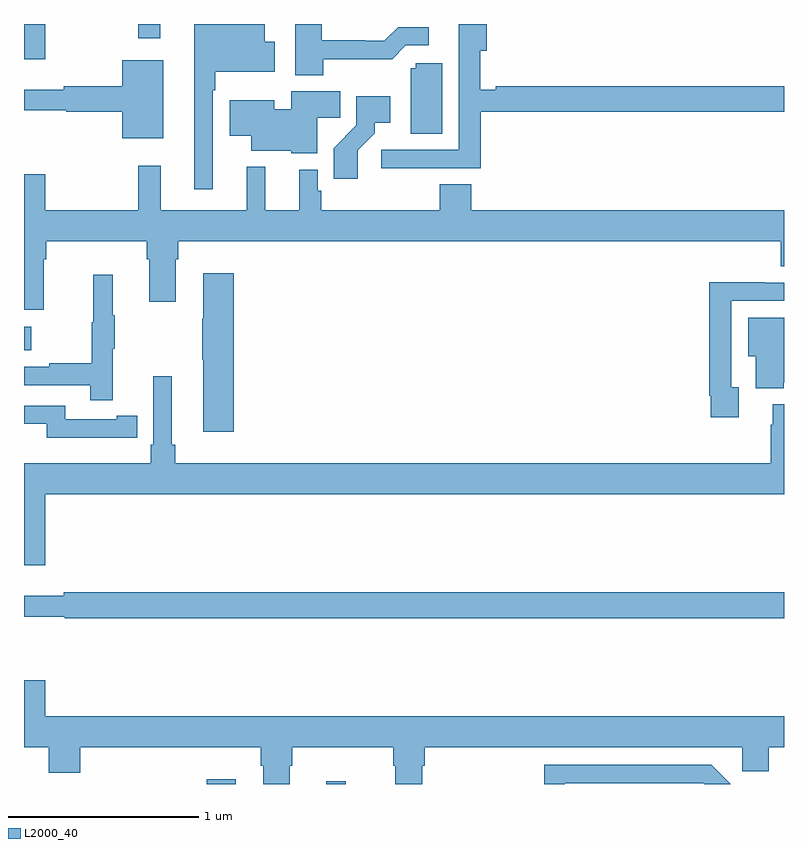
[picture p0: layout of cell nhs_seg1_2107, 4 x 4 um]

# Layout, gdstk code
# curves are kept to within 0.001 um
import gdstk
lib = gdstk.Library(unit=1e-6, precision=1e-09)
def R(c, l, rs):  # rectangles x0, y0, x1, y1
    for r in rs: c.add(gdstk.rectangle(r[:2], r[2:], *l))
def P(c, l, *ps):  # polygons
    for p in ps: c.add(gdstk.Polygon(p, *l))
L2000_40 = (2000, 40)

nhs_seg1_2107 = lib.new_cell('nhs_seg1_2107')
R(nhs_seg1_2107, L2000_40, [(225.961,558.199,226.114,558.223), (226.592,558.199,226.694,558.214), (225,560.483,225.037,560.605), (225,562.014,225.112,562.199), (225.601,562.125,225.718,562.199), (226.703,562.198,226.842,562.199)])
P(nhs_seg1_2107, L2000_40, [(225.993,561.851),(226.006,561.851),(226.006,561.947),(226.321,561.947),(226.321,562.105),(226.267,562.105),(226.267,562.199),(225.896,562.199),(225.896,561.33),(225.993,561.33)],
  [(226.575,562.014),(226.937,562.013),(227.01,562.086),(227.131,562.086),(227.131,562.183),(226.969,562.183),(226.896,562.11),(226.796,562.11),(226.796,562.113),(226.567,562.113),(226.567,562.199),(226.427,562.199),(226.427,561.929),(226.575,561.929)],
  [(227.105,561.441),(227.405,561.441),(227.405,561.736),(229,561.736),(229,561.872),(227.482,561.872),(227.482,561.854),(227.401,561.854),(227.401,562.058),(227.435,562.058),(227.435,562.199),(227.288,562.199),(227.288,562.062),(227.289,562.062),(227.289,561.537),(226.881,561.537),(226.881,561.439),(227.105,561.439)],
  [(225.733,562.009),(225.518,562.009),(225.518,561.872),(225.208,561.872),(225.208,561.853),(225,561.853),(225,561.744),(225.222,561.744),(225.222,561.736),(225.518,561.736),(225.518,561.599),(225.733,561.599)],
  [(227.2,561.993),(227.061,561.993),(227.061,561.966),(227.036,561.966),(227.036,561.622),(227.2,561.622)],
  [(226.543,561.706),(226.664,561.706),(226.664,561.844),(226.406,561.844),(226.406,561.751),(226.318,561.751),(226.318,561.799),(226.082,561.799),(226.082,561.611),(226.196,561.611),(226.196,561.533),(226.406,561.533),(226.406,561.518),(226.543,561.518)],
  [(226.756,561.535),(226.846,561.625),(226.846,561.68),(226.927,561.68),(226.927,561.82),(226.749,561.82),(226.749,561.665),(226.63,561.546),(226.63,561.384),(226.756,561.384)],
  [(226.448,561.433),(226.448,561.22),(226.271,561.22),(226.271,561.448),(226.172,561.448),(226.172,561.22),(225.719,561.22),(225.719,561.454),(225.601,561.454),(225.601,561.22),(225.112,561.22),(225.112,561.409),(225,561.409),(225,560.694),(225.103,560.694),(225.103,560.96),(225.116,560.96),(225.116,561.056),(225.647,561.056),(225.647,560.96),(225.659,560.96),(225.659,560.736),(225.799,560.736),(225.799,560.96),(225.812,560.96),(225.812,561.056),(228.983,561.056),(228.983,560.923),(229,560.923),(229,561.22),(227.354,561.22),(227.354,561.356),(227.189,561.356),(227.189,561.22),(226.565,561.22),(226.565,561.321),(226.545,561.321),(226.545,561.433)],
  [(226.103,560.887),(225.944,560.887),(225.944,560.648),(225.937,560.648),(225.937,560.431),(225.944,560.431),(225.944,560.052),(226.103,560.052)],
  [(225.467,560.491),(225.478,560.491),(225.478,560.665),(225.467,560.665),(225.467,560.878),(225.364,560.878),(225.364,560.628),(225.357,560.628),(225.357,560.414),(225.133,560.414),(225.133,560.394),(225,560.394),(225,560.298),(225.349,560.298),(225.349,560.22),(225.467,560.22)],
  [(228.763,560.286),(228.723,560.286),(228.723,560.742),(229,560.742),(229,560.838),(228.899,560.838),(228.899,560.84),(228.607,560.84),(228.607,560.242),(228.615,560.242),(228.615,560.13),(228.763,560.13)],
  [(228.998,560.313),(229,560.313),(229,560.653),(228.812,560.653),(228.812,560.45),(228.851,560.45),(228.851,560.282),(228.998,560.282)],
  [(225.112,559.724),(229,559.724),(229,560.197),(228.941,560.197),(228.941,560.09),(228.929,560.09),(228.929,559.888),(225.797,559.888),(225.797,559.984),(225.778,559.984),(225.778,560.344),(225.681,560.344),(225.681,559.984),(225.668,559.984),(225.668,559.888),(225,559.888),(225,559.35),(225.112,559.35)],
  [(225.488,560.022),(225.596,560.022),(225.596,560.138),(225.488,560.138),(225.488,560.118),(225.216,560.118),(225.216,560.19),(225,560.19),(225,560.094),(225.12,560.094),(225.12,560.021),(225.488,560.021)],
  [(229,559.208),(225.208,559.208),(225.208,559.189),(225,559.189),(225,559.08),(225.214,559.08),(225.214,559.072),(229,559.072)],
  [(226.399,558.296),(226.412,558.296),(226.412,558.392),(226.943,558.392),(226.943,558.296),(226.955,558.296),(226.955,558.199),(227.095,558.199),(227.095,558.296),(227.108,558.296),(227.108,558.392),(228.78,558.392),(228.78,558.265),(228.919,558.265),(228.919,558.392),(229,558.392),(229,558.556),(225.112,558.556),(225.112,558.745),(225,558.745),(225,558.392),(225.131,558.392),(225.131,558.259),(225.296,558.259),(225.296,558.392),(226.247,558.392),(226.247,558.296),(226.259,558.296),(226.259,558.199),(226.399,558.199)],
  [(227.847,558.204),(228.576,558.204),(228.581,558.199),(228.719,558.199),(228.618,558.3),(227.739,558.3),(227.739,558.199),(227.847,558.199)])

lib.write_gds('nhs_seg1_2107.gds')
